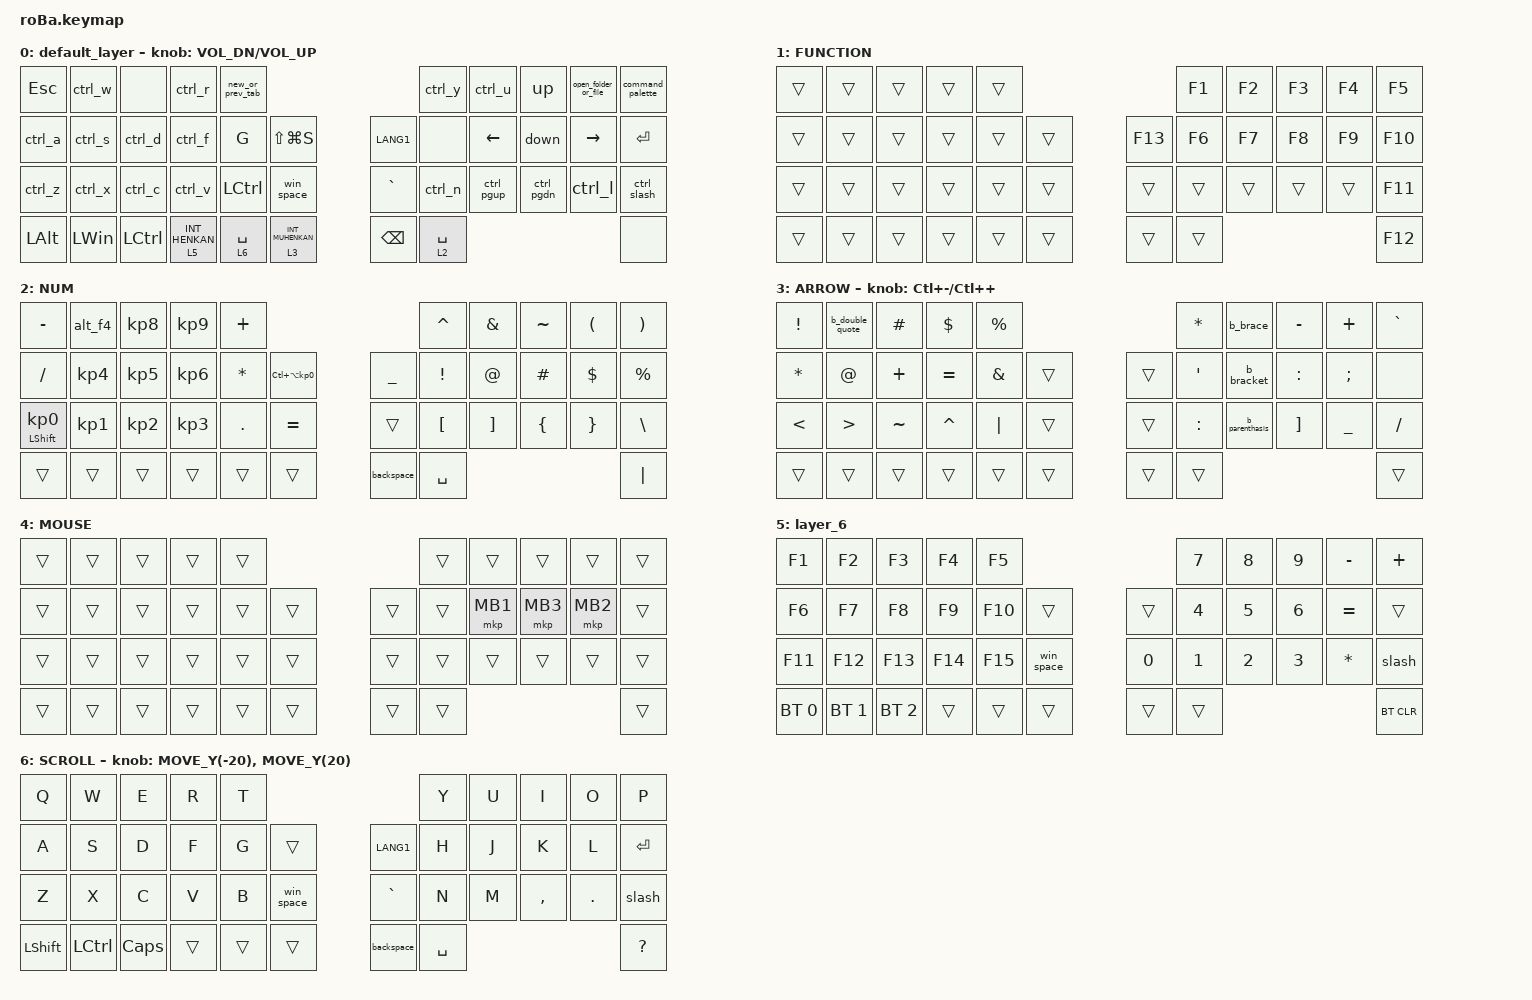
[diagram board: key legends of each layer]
#include <behaviors.dtsi>
#include <dt-bindings/zmk/bt.h>
#include <dt-bindings/zmk/keys.h>
#include <dt-bindings/zmk/pointing.h>
#include <dt-bindings/zmk/mouse.h>

&mt {
    flavor = "balanced";
    quick-tap-ms = <0>;
};

&trackball {
    automouse-layer = <4>;
    scroll-layers = <6>;

    // arrows {
    //     layers = <3>;
    //     bindings =
    //         <&kp RIGHT_ARROW>,
    //         <&kp LEFT_ARROW>,
    //         <&kp UP_ARROW>,
    //         <&kp DOWN_ARROW>;
    //     tick = <10>;
    //     wait-ms = <5>;
    //     tap-ms = <5>;
    // };
};

/ {
    combos {
        compatible = "zmk,combos";

        tab {
            bindings = <&kp TAB>;
            key-positions = <12 13>;
        };

        shift_tab {
            bindings = <&kp LS(TAB)>;
            key-positions = <12 11>;
        };

        alt_f4 {
            bindings = <&alt_f4>;
            key-positions = <2 1>;
        };
    };

    macros {
        to_layer_0: to_layer_0 {
            compatible = "zmk,behavior-macro-one-param";
            #binding-cells = <1>;
            bindings = <&to 0 &macro_param_1to1 &kp MACRO_PLACEHOLDER>;
            label = "TO_LAYER_0";
        };

        ctrl_a: ctrl_a {
            compatible = "zmk,behavior-macro";
            #binding-cells = <0>;
            bindings =
                <&macro_press>,
                <&kp LCTRL>,
                <&macro_tap>,
                <&kp A>,
                <&macro_release>,
                <&kp LCTRL>;

            label = "CTRL_A";
        };

        ctrl_s: ctrl_s {
            compatible = "zmk,behavior-macro";
            #binding-cells = <0>;
            bindings =
                <&macro_press>,
                <&kp LCTRL>,
                <&macro_tap>,
                <&kp S>,
                <&macro_release>,
                <&kp LCTRL>;

            label = "CTRL_S";
        };

        ctrl_d: ctrl_d {
            compatible = "zmk,behavior-macro";
            #binding-cells = <0>;
            bindings =
                <&macro_press>,
                <&kp LCTRL>,
                <&macro_tap>,
                <&kp D>,
                <&macro_release>,
                <&kp LCTRL>;

            label = "CTRL_D";
        };

        ctrl_w: ctrl_w {
            compatible = "zmk,behavior-macro";
            #binding-cells = <0>;
            bindings =
                <&macro_press>,
                <&kp LCTRL>,
                <&macro_tap>,
                <&kp W>,
                <&macro_release>,
                <&kp LCTRL>;

            label = "CTRL_W";
        };

        ctrl_f: ctrl_f {
            compatible = "zmk,behavior-macro";
            #binding-cells = <0>;
            bindings =
                <&macro_press>,
                <&kp LCTRL>,
                <&macro_tap>,
                <&kp F>,
                <&macro_release>,
                <&kp LCTRL>;

            label = "CTRL_F";
        };

        ctrl_z: ctrl_z {
            compatible = "zmk,behavior-macro";
            #binding-cells = <0>;
            bindings =
                <&macro_press>,
                <&kp LCTRL>,
                <&macro_tap>,
                <&kp Z>,
                <&macro_release>,
                <&kp LCTRL>;

            label = "CTRL_Z";
        };

        ctrl_x: ctrl_x {
            compatible = "zmk,behavior-macro";
            #binding-cells = <0>;
            bindings =
                <&macro_press>,
                <&kp LCTRL>,
                <&macro_tap>,
                <&kp X>,
                <&macro_release>,
                <&kp LCTRL>;

            label = "CTRL_X";
        };

        ctrl_c: ctrl_c {
            compatible = "zmk,behavior-macro";
            #binding-cells = <0>;
            bindings =
                <&macro_press>,
                <&kp LCTRL>,
                <&macro_tap>,
                <&kp C>,
                <&macro_release>,
                <&kp LCTRL>;

            label = "CTRL_C";
        };

        ctrl_v: ctrl_v {
            compatible = "zmk,behavior-macro";
            #binding-cells = <0>;
            bindings =
                <&macro_press>,
                <&kp LCTRL>,
                <&macro_tap>,
                <&kp V>,
                <&macro_release>,
                <&kp LCTRL>;

            label = "CTRL_V";
        };

        ctrl_r: ctrl_r {
            compatible = "zmk,behavior-macro";
            #binding-cells = <0>;
            bindings =
                <&macro_press>,
                <&kp LCTRL>,
                <&macro_tap>,
                <&kp R>,
                <&macro_release>,
                <&kp LCTRL>;

            label = "CTRL_R";
        };

        ctrl_l: ctrl_l {
            compatible = "zmk,behavior-macro";
            #binding-cells = <0>;
            bindings =
                <&macro_press>,
                <&kp LCTRL>,
                <&macro_tap>,
                <&kp L>,
                <&macro_release>,
                <&kp LCTRL>;

            label = "CTRL_L";
        };

        ctrl_pgup: ctrl_tab {
            compatible = "zmk,behavior-macro";
            #binding-cells = <0>;
            bindings =
                <&macro_press>,
                <&kp LCTRL>,
                <&macro_tap>,
                <&kp PAGE_UP>,
                <&macro_release>,
                <&kp LCTRL>;

            label = "CTRL_TAB";
        };

        ctrl_pgdn: ctrl_shift_tab {
            compatible = "zmk,behavior-macro";
            #binding-cells = <0>;
            bindings =
                <&macro_press>,
                <&kp LCTRL>,
                <&macro_tap>,
                <&kp PAGE_DOWN>,
                <&macro_release>,
                <&kp LCTRL>;

            label = "CTRL_SHIFT_TAB";
        };

        win_space: win_space {
            compatible = "zmk,behavior-macro";
            #binding-cells = <0>;
            bindings =
                <&macro_press>,
                <&kp LEFT_WIN>,
                <&macro_tap>,
                <&kp SPACE>,
                <&macro_release>,
                <&kp LEFT_WIN>;

            label = "WIN_SPACE";
        };

        ctrl_p: ctrl_p {
            compatible = "zmk,behavior-macro";
            #binding-cells = <0>;
            bindings =
                <&macro_press>,
                <&kp LCTRL>,
                <&macro_tap>,
                <&kp P>,
                <&macro_release>,
                <&kp LCTRL>;

            label = "CTRL_P";
        };

        ctrl_o: ctrl_o {
            compatible = "zmk,behavior-macro";
            #binding-cells = <0>;
            bindings =
                <&macro_press>,
                <&kp LCTRL>,
                <&macro_tap>,
                <&kp O>,
                <&macro_release>,
                <&kp LCTRL>;

            label = "CTRL_O";
        };

        ctrl_k_o: ctrl_k_o {
            compatible = "zmk,behavior-macro";
            #binding-cells = <0>;
            bindings =
                <&macro_press>,
                <&kp LCTRL>,
                <&macro_tap>,
                <&kp K &kp O>,
                <&macro_release>,
                <&kp LCTRL>;

            label = "CTRL_K_O";
        };

        ctrl_shift_n: ctrl_shift_n {
            compatible = "zmk,behavior-macro";
            #binding-cells = <0>;
            bindings =
                <&macro_press>,
                <&kp LCTRL &kp LEFT_SHIFT>,
                <&macro_tap>,
                <&kp N>,
                <&macro_release>,
                <&kp LEFT_SHIFT &kp LCTRL>;

            label = "CTRL_SHIFT_N";
        };

        alt_f4: alt_f4 {
            compatible = "zmk,behavior-macro";
            #binding-cells = <0>;
            bindings =
                <&macro_press>,
                <&kp LEFT_ALT>,
                <&macro_tap>,
                <&kp F4>,
                <&macro_release>,
                <&kp LEFT_ALT>;

            label = "ALT_F4";
        };

        ctrl_shift_e: ctrl_shift_e {
            compatible = "zmk,behavior-macro";
            #binding-cells = <0>;
            bindings =
                <&macro_press>,
                <&kp LCTRL &kp LEFT_SHIFT>,
                <&macro_tap>,
                <&kp E>,
                <&macro_release>,
                <&kp LEFT_SHIFT &kp LCTRL>;

            label = "CTRL_SHIFT_E";
        };

        ctrl_shift_f: ctrl_shift_f {
            compatible = "zmk,behavior-macro";
            #binding-cells = <0>;
            bindings =
                <&macro_press>,
                <&kp LCTRL &kp LEFT_SHIFT>,
                <&macro_tap>,
                <&kp F>,
                <&macro_release>,
                <&kp LEFT_SHIFT &kp LCTRL>;

            label = "CTRL_SHIFT_F";
        };

        ctrl_shift_g_g: ctrl_shift_g_g {
            compatible = "zmk,behavior-macro";
            #binding-cells = <0>;
            bindings =
                <&macro_press>,
                <&kp LCTRL &kp LEFT_SHIFT>,
                <&macro_tap>,
                <&kp G>,
                <&macro_release>,
                <&kp LEFT_SHIFT &kp LCTRL>,
                <&macro_tap>,
                <&kp G>;

            label = "CTRL_SHIFT_G_G";
        };

        ctrl_shift_i: ctrl_shift_i {
            compatible = "zmk,behavior-macro";
            #binding-cells = <0>;
            bindings =
                <&macro_press>,
                <&kp LCTRL &kp LEFT_SHIFT>,
                <&macro_tap>,
                <&kp I>,
                <&macro_release>,
                <&kp LEFT_SHIFT &kp LCTRL>;

            label = "CTRL_SHIFT_I";
        };

        ctrl_alt_b: ctrl_alt_b {
            compatible = "zmk,behavior-macro";
            #binding-cells = <0>;
            bindings =
                <&macro_press>,
                <&kp LCTRL &kp LEFT_ALT>,
                <&macro_press>,
                <&kp B>,
                <&macro_release>,
                <&kp LEFT_ALT &kp LCTRL>;

            label = "CTRL_ALT_B";
        };

        ctrl_n: ctrl_n {
            compatible = "zmk,behavior-macro";
            #binding-cells = <0>;
            bindings =
                <&macro_press>,
                <&kp LCTRL>,
                <&macro_tap>,
                <&kp N>,
                <&macro_release>,
                <&kp LCTRL>;

            label = "CTRL_N";
        };

        ctrl_t: ctrl_t {
            compatible = "zmk,behavior-macro";
            #binding-cells = <0>;
            bindings =
                <&macro_press>,
                <&kp LCTRL>,
                <&macro_tap>,
                <&kp T>,
                <&macro_release>,
                <&kp LCTRL>;

            label = "CTRL_T";
        };

        alt_larrow: alt_larrow {
            compatible = "zmk,behavior-macro";
            #binding-cells = <0>;
            bindings =
                <&macro_press>,
                <&kp LEFT_ALT>,
                <&macro_tap>,
                <&kp LEFT_ARROW>,
                <&macro_release>,
                <&kp LEFT_ALT>;

            label = "ALT_LARROW";
        };

        alt_rarrow: new_macro {
            compatible = "zmk,behavior-macro";
            #binding-cells = <0>;
            bindings =
                <&macro_press>,
                <&kp LEFT_ALT>,
                <&macro_tap>,
                <&kp RIGHT_ARROW>,
                <&macro_release>,
                <&kp LEFT_ALT>;

            label = "NEW_MACRO";
        };

        ctrl_shift_t: ctrl_shift_t {
            compatible = "zmk,behavior-macro";
            #binding-cells = <0>;
            bindings =
                <&macro_press>,
                <&kp LCTRL>,
                <&macro_press>,
                <&kp LSHIFT>,
                <&macro_tap>,
                <&kp T>,
                <&macro_release>,
                <&kp LSHIFT>,
                <&macro_release>,
                <&kp LCTRL>;

            label = "CTRL_SHIFT_T";
        };

        double_quote: double_quote {
            compatible = "zmk,behavior-macro";
            #binding-cells = <0>;
            bindings =
                <&macro_tap>,
                <&kp DOUBLE_QUOTES>,
                <&macro_tap>,
                <&kp DOUBLE_QUOTES>,
                <&macro_tap>,
                <&kp LEFT_ARROW>;

            label = "DOUBLE_QUOTE";
        };

        parenthasis: parenthases {
            compatible = "zmk,behavior-macro";
            #binding-cells = <0>;
            bindings =
                <&macro_tap>,
                <&kp LEFT_PARENTHESIS>,
                <&macro_tap>,
                <&kp RIGHT_PARENTHESIS>,
                <&macro_tap>,
                <&kp LEFT_ARROW>;

            label = "PARENTHASES";
        };

        brace: brace {
            compatible = "zmk,behavior-macro";
            #binding-cells = <0>;
            bindings =
                <&macro_tap>,
                <&kp LEFT_BRACE>,
                <&macro_tap>,
                <&kp RIGHT_BRACE>,
                <&macro_tap>,
                <&kp LEFT_ARROW>;

            label = "BRACE";
        };

        bracket: bracket {
            compatible = "zmk,behavior-macro";
            #binding-cells = <0>;
            bindings =
                <&macro_tap>,
                <&kp LEFT_BRACKET>,
                <&macro_tap>,
                <&kp RIGHT_BRACKET>,
                <&macro_tap>,
                <&kp LEFT_ARROW>;

            label = "BRACKET";
        };

        win_l: win_r {
            compatible = "zmk,behavior-macro";
            #binding-cells = <0>;
            bindings =
                <&macro_press>,
                <&kp LEFT_WIN>,
                <&macro_tap>,
                <&kp L>,
                <&macro_release>,
                <&kp LEFT_WIN>;

            label = "WIN_R";
        };

        ctrl_shift_p: ctrl_shift_p {
            compatible = "zmk,behavior-macro";
            #binding-cells = <0>;
            bindings =
                <&macro_press>,
                <&kp LCTRL &kp LEFT_SHIFT>,
                <&macro_tap>,
                <&kp P>,
                <&macro_release>,
                <&kp LEFT_SHIFT &kp LCTRL>;

            label = "CTRL_SHIFT_P";
        };

        ctrl_slash: ctrl_slash {
            compatible = "zmk,behavior-macro";
            #binding-cells = <0>;
            bindings =
                <&macro_press>,
                <&kp LCTRL>,
                <&macro_tap>,
                <&kp SLASH>,
                <&macro_release>,
                <&kp LCTRL>;

            label = "CTRL_SLASH";
        };

        ctrl_y: ctrl_y {
            compatible = "zmk,behavior-macro";
            #binding-cells = <0>;
            bindings =
                <&macro_press>,
                <&kp LCTRL>,
                <&macro_tap>,
                <&kp Y>,
                <&macro_release>,
                <&kp LCTRL>;

            label = "CTRL_Y";
        };

        ctrl_u: ctrl_u {
            compatible = "zmk,behavior-macro";
            #binding-cells = <0>;
            bindings =
                <&macro_press>,
                <&kp LCTRL>,
                <&macro_tap>,
                <&kp U>,
                <&macro_release>,
                <&kp LCTRL>;

            label = "CTRL_U";
        };
    };

    behaviors {
        lt_to_layer_0: lt_to_layer_0 {
            compatible = "zmk,behavior-hold-tap";
            label = "LAYER_TAP_TO_0";
            bindings = <&mo>, <&to_layer_0>;

            #binding-cells = <2>;
            tapping-term-ms = <200>;
        };

        m_1: m_1 {
            compatible = "zmk,behavior-mod-morph";
            label = "M_1";
            bindings = <&kp M>, <&kp NUMBER_1>;

            #binding-cells = <0>;
            mods = <(MOD_LCTL)>;
        };

        comma_2: comma_2 {
            compatible = "zmk,behavior-mod-morph";
            label = "COMMA_2";
            bindings = <&kp COMMA>, <&kp NUMBER_2>;

            #binding-cells = <0>;
            mods = <(MOD_LCTL)>;
        };

        period_3: period_3 {
            compatible = "zmk,behavior-mod-morph";
            label = "PERIOD_3";
            bindings = <&kp PERIOD>, <&kp NUMBER_3>;

            #binding-cells = <0>;
            mods = <(MOD_LCTL)>;
        };

        j_4: j_4 {
            compatible = "zmk,behavior-mod-morph";
            label = "J_4";
            bindings = <&kp J>, <&kp NUMBER_4>;

            #binding-cells = <0>;
            mods = <(MOD_LCTL)>;
        };

        k_5: k_5 {
            compatible = "zmk,behavior-mod-morph";
            label = "K_5";
            bindings = <&kp K>, <&kp NUMBER_5>;

            #binding-cells = <0>;
            mods = <(MOD_LCTL)>;
        };

        l_6: l_6 {
            compatible = "zmk,behavior-mod-morph";
            label = "L_6";
            bindings = <&kp L>, <&kp NUMBER_6>;

            #binding-cells = <0>;
            mods = <(MOD_LCTL)>;
        };

        u_7: u_7 {
            compatible = "zmk,behavior-mod-morph";
            label = "U_7";
            bindings = <&kp U>, <&kp NUMBER_7>;

            #binding-cells = <0>;
            mods = <(MOD_LCTL)>;
        };

        i_8: i_8 {
            compatible = "zmk,behavior-mod-morph";
            label = "I_8";
            bindings = <&kp I>, <&kp NUMBER_8>;

            #binding-cells = <0>;
            mods = <(MOD_LCTL)>;
        };

        o_9: o_9 {
            compatible = "zmk,behavior-mod-morph";
            label = "O_9";
            bindings = <&kp O>, <&kp NUMBER_9>;

            #binding-cells = <0>;
            mods = <(MOD_LCTL)>;
        };

        question_dot: question_dot {
            compatible = "zmk,behavior-mod-morph";
            label = "QUESTION_DOT";
            bindings = <&kp QUESTION>, <&kp DOT>;

            #binding-cells = <0>;
            mods = <(MOD_LCTL)>;
        };

        n_0: n_0 {
            compatible = "zmk,behavior-mod-morph";
            label = "N_0";
            bindings = <&kp N>, <&kp NUMBER_0>;

            #binding-cells = <0>;
            mods = <(MOD_LCTL)>;
        };

        y_minus: y_minus {
            compatible = "zmk,behavior-mod-morph";
            label = "Y_MINUS";
            bindings = <&kp Y>, <&kp MINUS>;

            #binding-cells = <0>;
            mods = <(MOD_LCTL)>;
        };

        backspace: backspace {
            compatible = "zmk,behavior-mod-morph";
            label = "BACKSPACE";
            bindings = <&kp BACKSPACE>, <&kp BACKSPACE>;

            #binding-cells = <0>;
            mods = <(MOD_LCTL)>;
        };

        new_or_prev_tab: new_or_prev_tab {
            compatible = "zmk,behavior-tap-dance";
            label = "NEW_OR_PREV_TAB";
            #binding-cells = <0>;
            bindings = <&ctrl_t>, <&ctrl_shift_t>;
        };

        open_folder_or_file: open_folder_or_file {
            compatible = "zmk,behavior-tap-dance";
            label = "OPEN_FOLDER_OR_FILE";
            #binding-cells = <0>;
            bindings = <&ctrl_k_o>, <&ctrl_o>;
        };

        rarrow_win_l: rarrow_win_l {
            compatible = "zmk,behavior-mod-morph";
            label = "RARROW_WIN_L";
            bindings = <&kp RIGHT_ARROW>, <&win_l>;

            #binding-cells = <0>;
            mods = <(MOD_LGUI)>;
        };

        command_palette: command_palette {
            compatible = "zmk,behavior-tap-dance";
            label = "COMMAND_PALETTE";
            #binding-cells = <0>;
            bindings = <&ctrl_p>, <&ctrl_shift_p>;
        };

        b_brace: b_brace {
            compatible = "zmk,behavior-tap-dance";
            label = "B_BRACE";
            #binding-cells = <0>;
            bindings = <&brace>, <&kp LEFT_BRACE>;
        };

        b_parenthasis: b_parenthasis {
            compatible = "zmk,behavior-tap-dance";
            label = "B_PARENTHASIS";
            #binding-cells = <0>;
            bindings = <&parenthasis>, <&kp LEFT_PARENTHESIS>;
        };

        b_bracket: b_bracket {
            compatible = "zmk,behavior-tap-dance";
            label = "B_BRACKET";
            #binding-cells = <0>;
            bindings = <&bracket>, <&kp LEFT_BRACKET>;
        };

        b_double_quote: b_double_quote {
            compatible = "zmk,behavior-tap-dance";
            label = "B_DOUBLE_QUOTE";
            #binding-cells = <0>;
            bindings = <&double_quote>, <&kp DOUBLE_QUOTES>;
        };

        up: up {
            compatible = "zmk,behavior-tap-dance";
            label = "UP";
            #binding-cells = <0>;
            bindings = <&kp UP_ARROW>, <&kp HOME>;
        };

        down: down {
            compatible = "zmk,behavior-tap-dance";
            label = "DOWN";
            #binding-cells = <0>;
            bindings = <&kp DOWN>, <&kp END>;
        };

        slash: slash {
            compatible = "zmk,behavior-tap-dance";
            label = "SLASH";
            #binding-cells = <0>;
            bindings = <&kp SLASH>, <&kp BACKSLASH>;
        };
    };

    keymap {
        compatible = "zmk,keymap";

        default_layer {
            bindings = <
&kp ESCAPE    &ctrl_w       &none      &ctrl_r                      &new_or_prev_tab                                                    &ctrl_y      &ctrl_u         &up         &open_folder_or_file  &command_palette
&ctrl_a       &ctrl_s       &ctrl_d    &ctrl_f                      &kp G             &kp LS(LG(S))                      &kp LANG1      &none        &kp LEFT_ARROW  &down       &kp RIGHT_ARROW       &kp ENTER
&ctrl_z       &ctrl_x       &ctrl_c    &ctrl_v                      &kp LCTRL         &win_space                         &kp GRAVE      &ctrl_n      &ctrl_pgup      &ctrl_pgdn  &ctrl_l               &ctrl_slash
&kp LEFT_ALT  &kp LEFT_WIN  &kp LCTRL  &lt_to_layer_0 5 INT_HENKAN  &lt 6 SPACE       &lt_to_layer_0 3 INT_MUHENKAN      &kp BACKSPACE  &lt 2 SPACE                                                    &none
            >;

            sensor-bindings = <&inc_dec_kp C_VOL_DN C_VOL_UP>;
        };

        FUNCTION {
            bindings = <
&trans  &trans  &trans  &trans  &trans                       &kp F1  &kp F2  &kp F3  &kp F4  &kp F5
&trans  &trans  &trans  &trans  &trans  &trans      &kp F13  &kp F6  &kp F7  &kp F8  &kp F9  &kp F10
&trans  &trans  &trans  &trans  &trans  &trans      &trans   &trans  &trans  &trans  &trans  &kp F11
&trans  &trans  &trans  &trans  &trans  &trans      &trans   &trans                          &kp F12
            >;
        };

        NUM {
            bindings = <
&kp MINUS                   &alt_f4          &kp KP_NUMBER_8  &kp KP_NUMBER_9  &kp PLUS                                                   &kp CARET         &kp AMPERSAND      &kp TILDE       &kp LEFT_PARENTHESIS  &kp RIGHT_PARENTHESIS
&kp SLASH                   &kp KP_NUMBER_4  &kp KP_NUMBER_5  &kp KP_NUMBER_6  &kp ASTERISK  &kp LC(LA(KP_NUMBER_0))      &kp UNDERSCORE  &kp EXCLAMATION   &kp AT_SIGN        &kp HASH        &kp DOLLAR            &kp PERCENT
&mt LEFT_SHIFT KP_NUMBER_0  &kp KP_NUMBER_1  &kp KP_NUMBER_2  &kp KP_NUMBER_3  &kp PERIOD    &kp EQUAL                    &trans          &kp LEFT_BRACKET  &kp RIGHT_BRACKET  &kp LEFT_BRACE  &kp RIGHT_BRACE       &kp BACKSLASH
&trans                      &trans           &trans           &trans           &trans        &trans                       &backspace      &kp SPACE                                                                  &kp PIPE
            >;
        };

        ARROW {
            bindings = <
&kp EXCLAMATION  &b_double_quote   &kp HASH   &kp DOLLAR  &kp PERCENT                        &kp ASTERISK      &b_brace        &kp MINUS          &kp PLUS       &kp GRAVE
&kp ASTERISK     &kp AT_SIGN       &kp PLUS   &kp EQUAL   &kp AMPERSAND  &trans      &trans  &kp SINGLE_QUOTE  &b_bracket      &kp COLON          &kp SEMICOLON  &none
&kp LESS_THAN    &kp GREATER_THAN  &kp TILDE  &kp CARET   &kp PIPE       &trans      &trans  &kp COLON         &b_parenthasis  &kp RIGHT_BRACKET  &kp UNDER      &kp SLASH
&trans           &trans            &trans     &trans      &trans         &trans      &trans  &trans                                                              &trans
            >;

            sensor-bindings = <&inc_dec_kp LC(MINUS) LC(PLUS)>;
        };

        MOUSE {
            bindings = <
&trans  &trans  &trans  &trans  &trans                      &trans  &trans    &trans    &trans    &trans
&trans  &trans  &trans  &trans  &trans  &trans      &trans  &trans  &mkp MB1  &mkp MB3  &mkp MB2  &trans
&trans  &trans  &trans  &trans  &trans  &trans      &trans  &trans  &trans    &trans    &trans    &trans
&trans  &trans  &trans  &trans  &trans  &trans      &trans  &trans                                &trans
            >;
        };

        layer_6 {
            bindings = <
&kp F1        &kp F2        &kp F3        &kp F4   &kp F5                           &kp N7        &kp N8        &kp N9        &kp MINUS     &kp PLUS
&kp F6        &kp F7        &kp F8        &kp F9   &kp F10  &trans          &trans  &kp NUMBER_4  &kp N5        &kp N6        &kp EQUAL     &trans
&kp F11       &kp F12       &kp F13       &kp F14  &kp F15  &win_space      &kp N0  &kp N1        &kp NUMBER_2  &kp NUMBER_3  &kp ASTERISK  &slash
&bt BT_SEL 0  &bt BT_SEL 1  &bt BT_SEL 2  &trans   &trans   &trans          &trans  &trans                                                  &bt BT_CLR
            >;
        };

        SCROLL {
            bindings = <
&kp Q       &kp W      &kp E         &kp R   &kp T                               &kp Y      &kp U  &kp I      &kp O       &kp P
&kp A       &kp S      &kp D         &kp F   &kp G   &trans          &kp LANG1   &kp H      &kp J  &kp K      &kp L       &kp ENTER
&kp Z       &kp X      &kp C         &kp V   &kp B   &win_space      &kp GRAVE   &kp N      &kp M  &kp COMMA  &kp PERIOD  &slash
&kp LSHIFT  &kp LCTRL  &kp CAPSLOCK  &trans  &trans  &trans          &backspace  &kp SPACE                                &kp QUESTION
            >;

            sensor-bindings = <&msc MOVE_Y(-20) &msc MOVE_Y(20)>;
        };
    };
};
